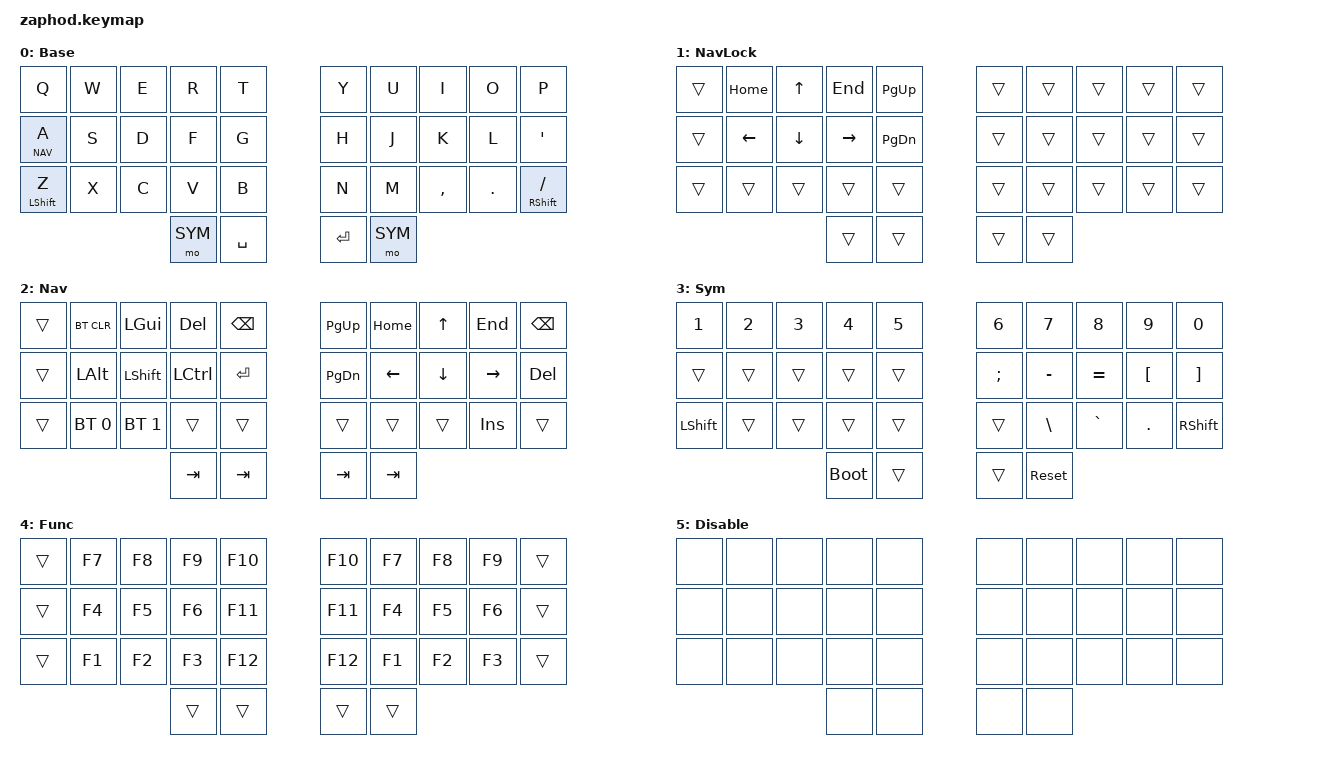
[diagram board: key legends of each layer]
/*
 * Copyright (c) 2021 Pete Johanson
 *
 * SPDX-License-Identifier: MIT
 */

#include <behaviors.dtsi>
#include <dt-bindings/zmk/keys.h>
#include <dt-bindings/zmk/bt.h>
#include <dt-bindings/zmk/outputs.h>

#define COMBO_TIMEOUT <30>

#define BASE    0
#define LNAV    1
#define NAV     2
#define SYM     3
#define FUNC    4
#define DISABLE 5

#define _______ &trans
#define XXXXXXX &none

&mt {
    tapping-term-ms = <150>;
    flavor = "hold-preferred";
};

&sk {
    release-after-ms = <1000>;
};

&sl {
    release-after-ms = <1000>;
};

/ {
behaviors {
    // Sticky key on tap, keypress on hold
    st: sticky_tap {
        compatible = "zmk,behavior-hold-tap";
        label = "STICKY_TAP";
        #binding-cells = <2>;
        tapping-term-ms = <250>;
        flavor = "tap-preferred";
        bindings = <&kp>, <&sk>;
    };

    combos {
        compatible = "zmk,combos";

        combo_disable { timeout-ms = COMBO_TIMEOUT; key-positions = <0 9>; bindings = <&tog DISABLE>; };

        // Escape, Tab, Enter, Backspace, Del
        combo_esc   { timeout-ms = COMBO_TIMEOUT; key-positions = <1 2>;   bindings = <&kp ESC>; };
        combo_tab   { timeout-ms = COMBO_TIMEOUT; key-positions = <11 12>; bindings = <&kp TAB>; };
        combo_bspc  { timeout-ms = COMBO_TIMEOUT; key-positions = <7 8>;   bindings = <&kp BKSP>; };
        combo_del   { timeout-ms = COMBO_TIMEOUT; key-positions = <8 9>;   bindings = <&kp DEL>; };
        combo_enter { timeout-ms = COMBO_TIMEOUT; key-positions = <17 18>; bindings = <&kp ENTER>; };

        // Sticky tap CTRL, ALT, GUI
        combo_lgui  { timeout-ms = COMBO_TIMEOUT; layers = <BASE>; key-positions = <1 3>;           bindings = <&st LGUI LGUI>; };
        combo_lctrl { timeout-ms = COMBO_TIMEOUT; layers = <BASE>; key-positions = <11 13>;         bindings = <&st LCTRL LCTRL>; };
        combo_lalt  { timeout-ms = COMBO_TIMEOUT; layers = <BASE>; key-positions = <21 23>;         bindings = <&st LALT LALT>; };

        combo_ralt  { timeout-ms = COMBO_TIMEOUT; layers = <BASE>; key-positions = <6 8>;           bindings = <&st RGUI RGUI>; };
        combo_rctrl { timeout-ms = COMBO_TIMEOUT; layers = <BASE>; key-positions = <16 18>;         bindings = <&st RCTRL RCTRL>; };
        combo_rgui  { timeout-ms = COMBO_TIMEOUT; layers = <BASE>; key-positions = <26 28>;         bindings = <&st RALT RALT>; };

        // Cut, Copy, Paste
        combo_cut   { timeout-ms = COMBO_TIMEOUT; layers = <BASE>; key-positions = <21 22 23>;      bindings = <&kp LC(X)>; };
        combo_copy  { timeout-ms = COMBO_TIMEOUT; layers = <BASE>; key-positions = <21 22>;         bindings = <&kp LC(C)>; };
        combo_paste { timeout-ms = COMBO_TIMEOUT; layers = <BASE>; key-positions = <22 23>;         bindings = <&kp LC(V)>; };

        // Left hand nav toggle, function layer
        combo_lnav  { timeout-ms = COMBO_TIMEOUT; layers = <BASE LNAV>; key-positions = <11 2 13>;  bindings = <&tog LNAV>; };
        combo_lfunc { timeout-ms = COMBO_TIMEOUT; layers = <BASE>; key-positions = <12 13>;         bindings = <&sl FUNC>; };
        combo_rfunc { timeout-ms = COMBO_TIMEOUT; layers = <BASE>; key-positions = <16 17>;         bindings = <&sl FUNC>; };
    };
};

keymap {
    compatible = "zmk,keymap";

    default_layer {
        label = "Base";
        bindings = <
            &kp Q           &kp W           &kp E           &kp R           &kp T           &kp Y           &kp U           &kp I           &kp O           &kp P
            &lt NAV A       &kp S           &kp D           &kp F           &kp G           &kp H           &kp J           &kp K           &kp L           &kp APOS
            &mt LSHFT Z     &kp X           &kp C           &kp V           &kp B           &kp N           &kp M           &kp COMMA       &kp DOT         &mt RSHFT FSLH
            &mo SYM         &kp SPC         &kp ENTER       &mo SYM
        >;
    };

    lnav_layer {
        label = "NavLock";
        bindings = <
            _______         &kp HOME        &kp UP          &kp END         &kp PG_UP       _______         _______         _______         _______         _______
            _______         &kp LEFT        &kp DOWN        &kp RIGHT       &kp PG_DN       _______         _______         _______         _______         _______
            _______         _______         _______         _______         _______         _______         _______         _______         _______         _______
            _______         _______         _______         _______
        >;
    };

    nav_layer {
        label = "Nav";
        bindings = <
            _______         &bt BT_CLR      &kp LGUI        &kp DEL         &kp BSPC        &kp PG_UP       &kp HOME        &kp UP          &kp END         &kp BKSP
            _______         &kp LALT        &kp LSHFT       &kp LCTRL       &kp ENTER       &kp PG_DN       &kp LEFT        &kp DOWN        &kp RIGHT       &kp DEL
            _______         &bt BT_SEL 0    &bt BT_SEL 1    _______         _______         _______         _______         _______         &kp INS         _______
            &kp TAB         &kp TAB         &kp TAB         &kp TAB
        >;
    };

    sym_layer {
        label = "Sym";
        bindings = <
            &kp N1          &kp N2          &kp N3          &kp N4          &kp N5          &kp N6          &kp N7          &kp N8          &kp N9          &kp N0
            _______         _______         _______         _______         _______         &kp SEMI        &kp MINUS       &kp EQUAL       &kp LBKT        &kp RBKT
            &kp LSHFT       _______         _______         _______         _______         _______         &kp BSLH        &kp GRAVE       &kp DOT         &kp RSHFT
            &bootloader     _______         _______         &sys_reset
        >;
    };

    func_layer {
        label = "Func";
        bindings = <
            _______         &kp F7          &kp F8          &kp F9          &kp F10         &kp F10         &kp F7          &kp F8          &kp F9          _______
            _______         &kp F4          &kp F5          &kp F6          &kp F11         &kp F11         &kp F4          &kp F5          &kp F6          _______
            _______         &kp F1          &kp F2          &kp F3          &kp F12         &kp F12         &kp F1          &kp F2          &kp F3          _______
            _______         _______         _______         _______
        >;
    };

    disable_layer {
        label = "Disable";
        bindings = <
            XXXXXXX         XXXXXXX         XXXXXXX         XXXXXXX         XXXXXXX         XXXXXXX         XXXXXXX         XXXXXXX         XXXXXXX         XXXXXXX
            XXXXXXX         XXXXXXX         XXXXXXX         XXXXXXX         XXXXXXX         XXXXXXX         XXXXXXX         XXXXXXX         XXXXXXX         XXXXXXX
            XXXXXXX         XXXXXXX         XXXXXXX         XXXXXXX         XXXXXXX         XXXXXXX         XXXXXXX         XXXXXXX         XXXXXXX         XXXXXXX
            XXXXXXX         XXXXXXX         XXXXXXX         XXXXXXX
        >;
    };
};

};

